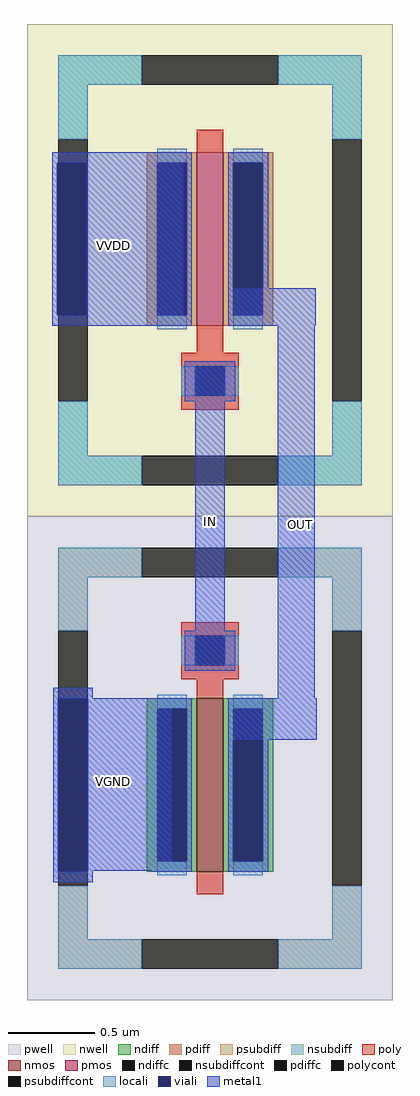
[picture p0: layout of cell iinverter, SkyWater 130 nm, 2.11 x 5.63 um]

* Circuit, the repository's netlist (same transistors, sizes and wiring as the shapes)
** sch_path: /home/deboradmk/iinverter/iinverter.sch
.subckt iinverter vvdd in out vgnd
*.PININFO vvdd:I in:I vgnd:I out:O
XM3 out in vgnd vgnd sky130_fd_pr__nfet_01v8 L=0.15 W=1 nf=1 m=1
XM2 out in vvdd vvdd sky130_fd_pr__pfet_01v8 L=0.15 W=1 nf=1 m=1
.ends
.end

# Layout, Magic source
magic
tech sky130A
magscale 1 2
<< viali >>
rect -18 799 16 975
rect -17 157 17 357
<< metal1 >>
rect -24 975 127 987
rect -24 799 -18 975
rect 16 799 127 975
rect -24 787 127 799
rect 181 787 280 830
rect 141 395 175 740
rect -23 357 23 369
rect 236 357 279 787
rect -23 157 -17 357
rect 17 158 114 357
rect 181 309 281 357
rect 17 157 23 158
rect -23 145 23 157
use sky130_fd_pr__nfet_01v8_64Z3AY  XM1
transform 1 0 158 0 1 288
box -211 -279 211 279
use sky130_fd_pr__pfet_01v8_LGS3BL  XM2
transform 1 0 158 0 1 851
box -211 -284 211 284
<< labels >>
flabel metal1 45 880 49 880 0 FreeSans 160 0 0 0 VVDD
port 0 nsew
flabel metal1 45 261 49 261 0 FreeSans 160 0 0 0 VGND
port 1 nsew
flabel metal1 156 561 160 561 0 FreeSans 160 0 0 0 IN
port 2 nsew
flabel metal1 260 558 264 558 0 FreeSans 160 0 0 0 OUT
port 3 nsew
<< end >>

# cell sky130_fd_pr__nfet_01v8_64Z3AY: kit device sky130_fd_pr__nfet_01v8, w 1.0 l 0.15 m 1 nf 1 diffcov 100 polycov 100 guard 1 glc 1 grc 1 gtc 1 gbc 1 tbcov 100 rlcov 100 topc 1 botc 0 poverlap 0 doverlap 1 lmin 0.15 wmin 0.42 compatible {sky130_fd_pr__nfet_01v8 sky130_fd_pr__nfet_01v8_lvt sky130_fd_bs_flash__special_sonosfet_star sky130_fd_pr__nfet_g5v0d10v5 sky130_fd_pr__nfet_05v0_nvt sky130_fd_pr__nfet_03v3_nvt} full_metal 1 viasrc 100 viadrn 100 viagate 100 viagb 0 viagr 0 viagl 0 viagt 0

# cell sky130_fd_pr__pfet_01v8_LGS3BL: kit device sky130_fd_pr__pfet_01v8, w 1.0 l 0.15 m 1 nf 1 diffcov 100 polycov 100 guard 1 glc 1 grc 1 gtc 1 gbc 1 tbcov 100 rlcov 100 topc 0 botc 1 poverlap 0 doverlap 1 lmin 0.15 wmin 0.42 compatible {sky130_fd_pr__pfet_01v8 sky130_fd_pr__pfet_01v8_lvt sky130_fd_pr__pfet_01v8_hvt sky130_fd_pr__pfet_g5v0d10v5} full_metal 1 viasrc 100 viadrn 100 viagate 100 viagb 0 viagr 0 viagl 0 viagt 0
